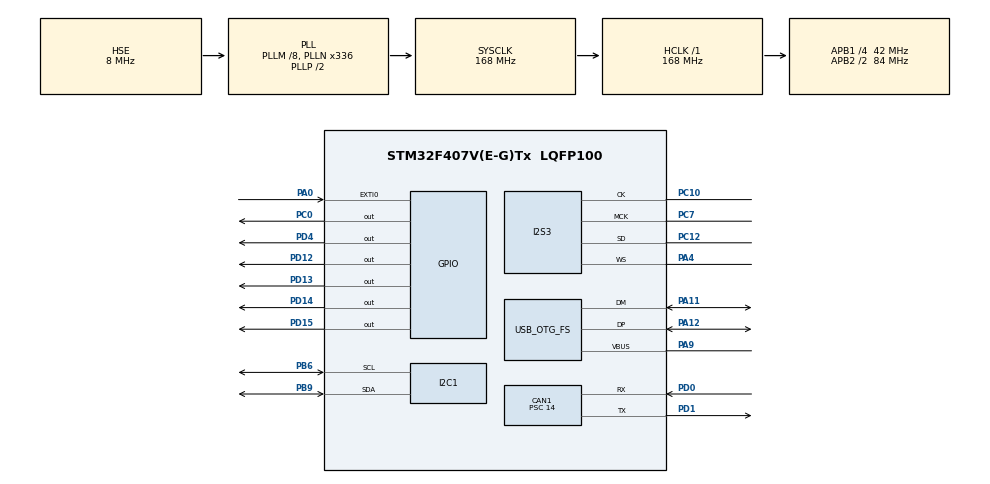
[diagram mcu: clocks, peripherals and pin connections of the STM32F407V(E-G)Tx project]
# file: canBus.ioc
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CAN1.ABOM=DISABLE
CAN1.BS1=CAN_BS1_12TQ
CAN1.BS2=CAN_BS2_2TQ
CAN1.CalculateBaudRate=200000
CAN1.CalculateTimeBit=4999.99
CAN1.CalculateTimeQuantum=333.33333333333337
CAN1.Prescaler=14
Dma.Request0=SPI3_TX
Dma.SPI3_TX.0.Direction=DMA_MEMORY_TO_PERIPH
Dma.SPI3_TX.0.FIFOMode=DMA_FIFOMODE_ENABLE
Dma.SPI3_TX.0.FIFOThreshold=DMA_FIFO_THRESHOLD_FULL
Dma.SPI3_TX.0.Instance=DMA1_Stream5
Dma.SPI3_TX.0.MemBurst=DMA_MBURST_SINGLE
Dma.SPI3_TX.0.MemDataAlignment=DMA_MDATAALIGN_HALFWORD
Dma.SPI3_TX.0.MemInc=DMA_MINC_ENABLE
Dma.SPI3_TX.0.Mode=DMA_CIRCULAR
Dma.SPI3_TX.0.PeriphBurst=DMA_PBURST_SINGLE
Dma.SPI3_TX.0.PeriphDataAlignment=DMA_PDATAALIGN_HALFWORD
Dma.SPI3_TX.0.PeriphInc=DMA_PINC_DISABLE
Dma.SPI3_TX.0.Priority=DMA_PRIORITY_LOW
FATFS._USE_LFN=1
I2S3.AudioFreq=I2S_AUDIOFREQ_44K
I2S3.ErrorAudioFreq=0.24 %
I2S3.FullDuplexMode=I2S_FULLDUPLEXMODE_DISABLE
I2S3.Instance=SPI$Index
I2S3.RealAudioFreq=44.108 KHz
I2S3.VirtualMode=I2S_MODE_MASTER
Mcu.Family=STM32F4
Mcu.Name=STM32F407V(E-G)Tx
Mcu.Package=LQFP100
NVIC.CAN1_RX0_IRQn=true\:0\:2\:false\:false\:true\:true\:true
NVIC.DMA1_Stream5_IRQn=true\:0\:0\:false\:false\:true\:false\:true
NVIC.EXTI0_IRQn=true\:0\:1\:false\:false\:true\:true\:true
NVIC.OTG_FS_IRQn=true\:0\:0\:false\:false\:true\:false\:true
NVIC.PriorityGroup=NVIC_PRIORITYGROUP_0
NVIC.TIM6_DAC_IRQn=true\:0\:0\:false\:false\:true\:false\:true
NVIC.TimeBase=TIM6_DAC_IRQn
NVIC.TimeBaseIP=TIM6
PA0-WKUP.GPIO_PuPd=GPIO_PULLDOWN
PA0-WKUP.Signal=GPXTI0
PA11.Mode=Host_Only
PA11.Signal=USB_OTG_FS_DM
PA12.Mode=Host_Only
PA12.Signal=USB_OTG_FS_DP
PA4.Mode=Half_Duplex_Master
PA4.Signal=I2S3_WS
PA9.Mode=Activate_VBUS
PA9.Signal=USB_OTG_FS_VBUS
PB6.Mode=I2C
PB6.Signal=I2C1_SCL
PB9.Mode=I2C
PB9.Signal=I2C1_SDA
PC0.Signal=GPIO_Output
PC10.Mode=Half_Duplex_Master
PC10.Signal=I2S3_CK
PC12.Mode=Half_Duplex_Master
PC12.Signal=I2S3_SD
PC7.Mode=Master_Clock_Activated
PC7.Signal=I2S3_MCK
PD0.Mode=CAN_Activate
PD0.Signal=CAN1_RX
PD1.Mode=CAN_Activate
PD1.Signal=CAN1_TX
PD12.Signal=GPIO_Output
PD13.Signal=GPIO_Output
PD14.Signal=GPIO_Output
PD15.Signal=GPIO_Output
PD4.Signal=GPIO_Output
PH0-OSC_IN.Mode=HSE-External-Oscillator
PH0-OSC_IN.Signal=RCC_OSC_IN
PH1-OSC_OUT.Mode=HSE-External-Oscillator
PH1-OSC_OUT.Signal=RCC_OSC_OUT
ProjectManager.HeapSize=0x200
ProjectManager.StackSize=0x400
ProjectManager.TargetToolchain=STM32CubeIDE
RCC.48MHZClocksFreq_Value=48000000
RCC.AHBFreq_Value=168000000
RCC.APB1CLKDivider=RCC_HCLK_DIV4
RCC.APB1Freq_Value=42000000
RCC.APB1TimFreq_Value=84000000
RCC.APB2CLKDivider=RCC_HCLK_DIV2
RCC.APB2Freq_Value=84000000
RCC.APB2TimFreq_Value=168000000
RCC.CortexFreq_Value=168000000
RCC.HCLKFreq_Value=168000000
RCC.HSE_VALUE=8000000
RCC.HSI_VALUE=16000000
RCC.LSE_VALUE=32768
RCC.PLLI2SN=271
RCC.PLLI2SR=6
RCC.PLLM=8
RCC.PLLN=336
RCC.PLLQ=7
RCC.SYSCLKFreq_VALUE=168000000
RCC.SYSCLKSource=RCC_SYSCLKSOURCE_PLLCLK
RCC.VCOOutputFreq_Value=336000000
USB_HOST.USBH_HandleTypeDef-MSC_FS=hUsbHostFS
USB_HOST.VirtualModeFS=Msc
USB_OTG_FS.VirtualMode=Host_Only
USB_OTG_FS.phy_itface=HCD_PHY_EMBEDDED
VP_FATFS_VS_USB.Mode=USB
VP_SYS_VS_tim6.Mode=TIM6
VP_USB_HOST_VS_USB_HOST_MSC_FS.Mode=MSC_FS
board=STM32F407G-DISC1

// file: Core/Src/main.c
/* USER CODE BEGIN Header */
/**
  ******************************************************************************
  * @file           : main.c
  * @brief          : Main program body
  ******************************************************************************
  * @attention
  *
  * <h2><center>&copy; Copyright (c) 2021 STMicroelectronics.
  * All rights reserved.</center></h2>
  *
  * This software component is licensed by ST under BSD 3-Clause license,
  * the "License"; You may not use this file except in compliance with the
  * License. You may obtain a copy of the License at:
  *                        opensource.org/licenses/BSD-3-Clause
  *
  ******************************************************************************
  */
/* USER CODE END Header */
#include "main.h"
#include "fatfs.h"
#include "usb_host.h"

/* USER CODE BEGIN Includes */
#include "waveplayer.h"
#include "File_Handling.h"
/* USER CODE END Includes */

CAN_HandleTypeDef hcan1;

I2C_HandleTypeDef hi2c1;

I2S_HandleTypeDef hi2s3;
DMA_HandleTypeDef hdma_spi3_tx;

/* USER CODE BEGIN PV */
CAN_TxHeaderTypeDef TxHeader;
CAN_RxHeaderTypeDef RxHeader;
CAN_FilterTypeDef FilterConfig;

uint32_t TxMailbox;
uint8_t TxData[8] = {0,0,0,0,0,0,0,0};
uint8_t RxData[8] = {0,0,0,0,0,0,0,0};
uint8_t a = 0;

/* USER CODE END PV */

void SystemClock_Config(void);
static void MX_GPIO_Init(void);
static void MX_CAN1_Init(void);
static void MX_DMA_Init(void);
static void MX_I2C1_Init(void);
static void MX_I2S3_Init(void);
void MX_USB_HOST_Process(void);

/* USER CODE BEGIN 0 */

extern ApplicationTypeDef Appli_state;
extern AUDIO_PLAYBACK_StateTypeDef AudioState;
int IsFinished =0;
/* USER CODE END 0 */

int main(void)
{

  /* MCU Configuration--------------------------------------------------------*/

  /* Reset of all peripherals, Initializes the Flash interface and the Systick. */
  HAL_Init();

  /* Configure the system clock */
  SystemClock_Config();

  /* Initialize all configured peripherals */
  MX_GPIO_Init();
  MX_CAN1_Init();
  MX_DMA_Init();
  MX_I2C1_Init();
  MX_I2S3_Init();
  MX_FATFS_Init();
  MX_USB_HOST_Init();
  /* USER CODE BEGIN 2 */
  FilterConfig.FilterBank = 0;  //MASTER
  FilterConfig.FilterMode = CAN_FILTERMODE_IDMASK;
  FilterConfig.FilterFIFOAssignment = CAN_FILTER_FIFO0;
  FilterConfig.FilterIdHigh = 0x245<<5;
  FilterConfig.FilterIdLow = 0;
  FilterConfig.FilterMaskIdHigh = 0;
  FilterConfig.FilterMaskIdLow = 0;
  FilterConfig.FilterScale=CAN_FILTERSCALE_32BIT;
  FilterConfig.FilterActivation= ENABLE;
  FilterConfig.SlaveStartFilterBank = 14;

  TxHeader.DLC = 8;            								// grote van bericht 1 - 8 in bytes
  TxHeader.IDE = CAN_ID_STD;   								// standaard berichten versturen geen debug mode
  TxHeader.RTR = CAN_RTR_DATA;
  TxHeader.StdId = 0x244;        							// identificatie nummer van de CAN deelnemer
  TxHeader.TransmitGlobalTime = DISABLE;

  HAL_CAN_ConfigFilter(&hcan1,&FilterConfig);
  HAL_CAN_Start(&hcan1);
  HAL_CAN_ActivateNotification(&hcan1,CAN_IT_RX_FIFO0_MSG_PENDING);
  HAL_GPIO_WritePin(GPIOD, GPIO_PIN_4, GPIO_PIN_SET);
  HAL_Delay(500);
  HAL_GPIO_WritePin(GPIOD, GPIO_PIN_4, GPIO_PIN_RESET);
  HAL_Delay(500);
  //HAL_GPIO_WritePin(GPIOD, GPIO_PIN_4, GPIO_PIN_SET);

  /* USER CODE END 2 */

  /* Infinite loop */
  while (1)
  {
    MX_USB_HOST_Process();

    /* USER CODE BEGIN 3 */

    if(Appli_state == APPLICATION_READY)
    {
    	Mount_USB();
    	AUDIO_PLAYER_Start(0);  // 0 is de eerste file op de USB
    	if(!IsFinished)
    	{
    		AUDIO_PLAYER_Process(TRUE);
    		if(AudioState == AUDIO_STATE_STOP)
    		{
    			IsFinished = 1;
    			//TxData[0] = 0x02;
    			//TxData[1] = 0x03;
    			//HAL_CAN_AddTxMessage(&hcan1,&TxHeader,TxData,&TxMailbox);
    		}
    	}
    }
	  // VOORBEELD LED aansturen + bericht versturen elke 1,5 seconde
	  //HAL_GPIO_WritePin(GPIOD, GPIO_PIN_15, GPIO_PIN_SET);
	  //TxData[0] = 0x02;
	  //TxData[1] = 0x03;
	  //HAL_CAN_AddTxMessage(&hcan1,&TxHeader,TxData,&TxMailbox);
	  //HAL_Delay(500);
	  //HAL_GPIO_WritePin(GPIOD, GPIO_PIN_15, GPIO_PIN_RESET);
	  //HAL_Delay(1000);
  }
  /* USER CODE END 3 */
}

void SystemClock_Config(void)
{
  RCC_OscInitTypeDef RCC_OscInitStruct = {0};
  RCC_ClkInitTypeDef RCC_ClkInitStruct = {0};

  /** Configure the main internal regulator output voltage
  */
  __HAL_RCC_PWR_CLK_ENABLE();
  __HAL_PWR_VOLTAGESCALING_CONFIG(PWR_REGULATOR_VOLTAGE_SCALE1);
  /** Initializes the RCC Oscillators according to the specified parameters
  * in the RCC_OscInitTypeDef structure.
  */
  RCC_OscInitStruct.OscillatorType = RCC_OSCILLATORTYPE_HSE;
  RCC_OscInitStruct.HSEState = RCC_HSE_ON;
  RCC_OscInitStruct.PLL.PLLState = RCC_PLL_ON;
  RCC_OscInitStruct.PLL.PLLSource = RCC_PLLSOURCE_HSE;
  RCC_OscInitStruct.PLL.PLLM = 8;
  RCC_OscInitStruct.PLL.PLLN = 336;
  RCC_OscInitStruct.PLL.PLLP = RCC_PLLP_DIV2;
  RCC_OscInitStruct.PLL.PLLQ = 7;
  if (HAL_RCC_OscConfig(&RCC_OscInitStruct) != HAL_OK)
  {
    Error_Handler();
  }
  /** Initializes the CPU, AHB and APB buses clocks
  */
  RCC_ClkInitStruct.ClockType = RCC_CLOCKTYPE_HCLK|RCC_CLOCKTYPE_SYSCLK
                              |RCC_CLOCKTYPE_PCLK1|RCC_CLOCKTYPE_PCLK2;
  RCC_ClkInitStruct.SYSCLKSource = RCC_SYSCLKSOURCE_PLLCLK;
  RCC_ClkInitStruct.AHBCLKDivider = RCC_SYSCLK_DIV1;
  RCC_ClkInitStruct.APB1CLKDivider = RCC_HCLK_DIV4;
  RCC_ClkInitStruct.APB2CLKDivider = RCC_HCLK_DIV2;

  if (HAL_RCC_ClockConfig(&RCC_ClkInitStruct, FLASH_LATENCY_5) != HAL_OK)
  {
    Error_Handler();
  }
}

static void MX_CAN1_Init(void)
{

  hcan1.Instance = CAN1;
  hcan1.Init.Prescaler = 14;
  hcan1.Init.Mode = CAN_MODE_NORMAL;
  hcan1.Init.SyncJumpWidth = CAN_SJW_1TQ;
  hcan1.Init.TimeSeg1 = CAN_BS1_12TQ;
  hcan1.Init.TimeSeg2 = CAN_BS2_2TQ;
  hcan1.Init.TimeTriggeredMode = DISABLE;
  hcan1.Init.AutoBusOff = DISABLE;
  hcan1.Init.AutoWakeUp = DISABLE;
  hcan1.Init.AutoRetransmission = DISABLE;
  hcan1.Init.ReceiveFifoLocked = DISABLE;
  hcan1.Init.TransmitFifoPriority = DISABLE;
  if (HAL_CAN_Init(&hcan1) != HAL_OK)
  {
    Error_Handler();
  }

}

static void MX_I2C1_Init(void)
{

  hi2c1.Instance = I2C1;
  hi2c1.Init.ClockSpeed = 100000;
  hi2c1.Init.DutyCycle = I2C_DUTYCYCLE_2;
  hi2c1.Init.OwnAddress1 = 0;
  hi2c1.Init.AddressingMode = I2C_ADDRESSINGMODE_7BIT;
  hi2c1.Init.DualAddressMode = I2C_DUALADDRESS_DISABLE;
  hi2c1.Init.OwnAddress2 = 0;
  hi2c1.Init.GeneralCallMode = I2C_GENERALCALL_DISABLE;
  hi2c1.Init.NoStretchMode = I2C_NOSTRETCH_DISABLE;
  if (HAL_I2C_Init(&hi2c1) != HAL_OK)
  {
    Error_Handler();
  }

}

static void MX_I2S3_Init(void)
{

  hi2s3.Instance = SPI3;
  hi2s3.Init.Mode = I2S_MODE_MASTER_TX;
  hi2s3.Init.Standard = I2S_STANDARD_PHILIPS;
  hi2s3.Init.DataFormat = I2S_DATAFORMAT_16B;
  hi2s3.Init.MCLKOutput = I2S_MCLKOUTPUT_ENABLE;
  hi2s3.Init.AudioFreq = I2S_AUDIOFREQ_44K;
  hi2s3.Init.CPOL = I2S_CPOL_LOW;
  hi2s3.Init.ClockSource = I2S_CLOCK_PLL;
  hi2s3.Init.FullDuplexMode = I2S_FULLDUPLEXMODE_DISABLE;
  if (HAL_I2S_Init(&hi2s3) != HAL_OK)
  {
    Error_Handler();
  }

}

static void MX_DMA_Init(void)
{

  /* DMA controller clock enable */
  __HAL_RCC_DMA1_CLK_ENABLE();

  /* DMA interrupt init */
  /* DMA1_Stream5_IRQn interrupt configuration */
  HAL_NVIC_SetPriority(DMA1_Stream5_IRQn, 0, 0);
  HAL_NVIC_EnableIRQ(DMA1_Stream5_IRQn);

}

static void MX_GPIO_Init(void)
{
  GPIO_InitTypeDef GPIO_InitStruct = {0};

  /* GPIO Ports Clock Enable */
  __HAL_RCC_GPIOH_CLK_ENABLE();
  __HAL_RCC_GPIOC_CLK_ENABLE();
  __HAL_RCC_GPIOA_CLK_ENABLE();
  __HAL_RCC_GPIOD_CLK_ENABLE();
  __HAL_RCC_GPIOB_CLK_ENABLE();

  /*Configure GPIO pin Output Level */
  HAL_GPIO_WritePin(GPIOC, GPIO_PIN_0, GPIO_PIN_RESET);

  /*Configure GPIO pin Output Level */
  HAL_GPIO_WritePin(GPIOD, GPIO_PIN_12|GPIO_PIN_13|GPIO_PIN_14|GPIO_PIN_15
                          |GPIO_PIN_4, GPIO_PIN_RESET);

  /*Configure GPIO pin : PC0 */
  GPIO_InitStruct.Pin = GPIO_PIN_0;
  GPIO_InitStruct.Mode = GPIO_MODE_OUTPUT_PP;
  GPIO_InitStruct.Pull = GPIO_NOPULL;
  GPIO_InitStruct.Speed = GPIO_SPEED_FREQ_LOW;
  HAL_GPIO_Init(GPIOC, &GPIO_InitStruct);

  /*Configure GPIO pin : PA0 */
  GPIO_InitStruct.Pin = GPIO_PIN_0;
  GPIO_InitStruct.Mode = GPIO_MODE_IT_RISING;
  GPIO_InitStruct.Pull = GPIO_PULLDOWN;
  HAL_GPIO_Init(GPIOA, &GPIO_InitStruct);

  /*Configure GPIO pins : PD12 PD13 PD14 PD15
                           PD4 */
  GPIO_InitStruct.Pin = GPIO_PIN_12|GPIO_PIN_13|GPIO_PIN_14|GPIO_PIN_15
                          |GPIO_PIN_4;
  GPIO_InitStruct.Mode = GPIO_MODE_OUTPUT_PP;
  GPIO_InitStruct.Pull = GPIO_NOPULL;
  GPIO_InitStruct.Speed = GPIO_SPEED_FREQ_LOW;
  HAL_GPIO_Init(GPIOD, &GPIO_InitStruct);

  /* EXTI interrupt init*/
  HAL_NVIC_SetPriority(EXTI0_IRQn, 0, 1);
  HAL_NVIC_EnableIRQ(EXTI0_IRQn);

}

void HAL_TIM_PeriodElapsedCallback(TIM_HandleTypeDef *htim)
{
  if (htim->Instance == TIM6) {
    HAL_IncTick();
  }
}

void Error_Handler(void)
{
  __disable_irq();
  while (1)
  {
  }
}

/************************ (C) COPYRIGHT STMicroelectronics *****END OF FILE****/
